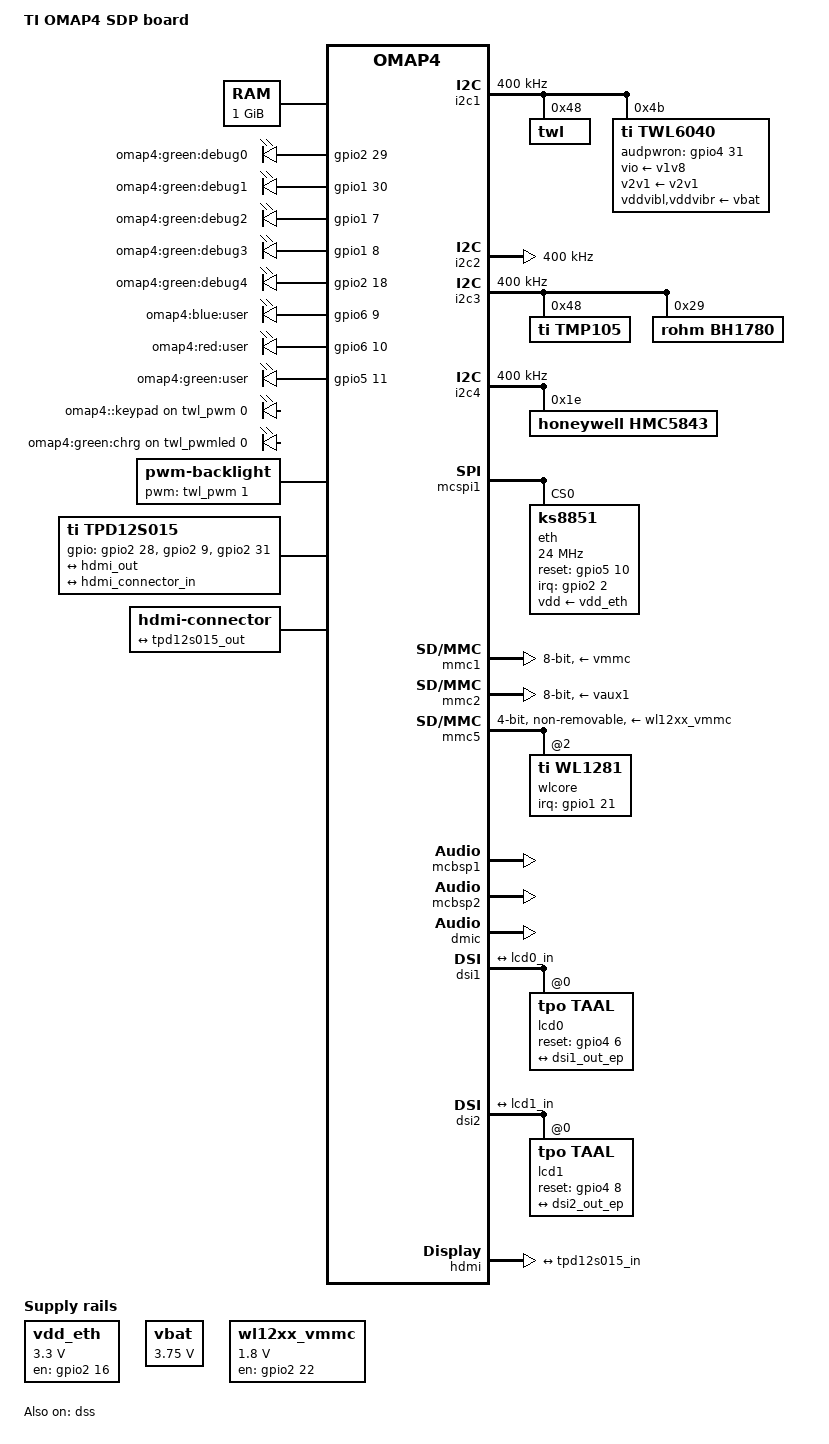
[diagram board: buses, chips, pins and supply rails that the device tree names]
// SPDX-License-Identifier: GPL-2.0-only
/*
 * Copyright (C) 2011 Texas Instruments Incorporated - https://www.ti.com/
 */
/dts-v1/;

#include "omap443x.dtsi"
#include "elpida_ecb240abacn.dtsi"
#include "omap4-mcpdm.dtsi"

/ {
	model = "TI OMAP4 SDP board";
	compatible = "ti,omap4-sdp", "ti,omap4430", "ti,omap4";

	memory@80000000 {
		device_type = "memory";
		reg = <0x80000000 0x40000000>; /* 1 GB */
	};

	aliases {
		display0 = &lcd0;
		display1 = &lcd1;
		display2 = &hdmi0;
	};

	vdd_eth: fixedregulator-vdd-eth {
		pinctrl-names = "default";
		pinctrl-0 = <&enet_enable_gpio>;

		compatible = "regulator-fixed";
		regulator-name = "VDD_ETH";
		regulator-min-microvolt = <3300000>;
		regulator-max-microvolt = <3300000>;
		gpio = <&gpio2 16 GPIO_ACTIVE_HIGH>;  /* gpio line 48 */
		enable-active-high;
		regulator-boot-on;
		startup-delay-us = <25000>;
	};

	vbat: fixedregulator-vbat {
		compatible = "regulator-fixed";
		regulator-name = "VBAT";
		regulator-min-microvolt = <3750000>;
		regulator-max-microvolt = <3750000>;
		regulator-boot-on;
	};

	led-controller-1 {
		compatible = "gpio-leds";

		led-1 {
			label = "omap4:green:debug0";
			gpios = <&gpio2 29 GPIO_ACTIVE_HIGH>; /* 61 */
		};

		led-2 {
			label = "omap4:green:debug1";
			gpios = <&gpio1 30 GPIO_ACTIVE_HIGH>; /* 30 */
		};

		led-3 {
			label = "omap4:green:debug2";
			gpios = <&gpio1 7 GPIO_ACTIVE_HIGH>; /* 7 */
		};

		led-4 {
			label = "omap4:green:debug3";
			gpios = <&gpio1 8 GPIO_ACTIVE_HIGH>; /* 8 */
		};

		led-5 {
			label = "omap4:green:debug4";
			gpios = <&gpio2 18 GPIO_ACTIVE_HIGH>; /* 50 */
		};

		led-6 {
			label = "omap4:blue:user";
			gpios = <&gpio6 9 GPIO_ACTIVE_HIGH>; /* 169 */
		};

		led-7 {
			label = "omap4:red:user";
			gpios = <&gpio6 10 GPIO_ACTIVE_HIGH>; /* 170 */
		};

		led-8 {
			label = "omap4:green:user";
			gpios = <&gpio5 11 GPIO_ACTIVE_HIGH>; /* 139 */
		};
	};

	led-controller-2 {
		compatible = "pwm-leds";

		led-9 {
			label = "omap4::keypad";
			pwms = <&twl_pwm 0 7812500>;
			max-brightness = <127>;
		};

		led-10 {
			label = "omap4:green:chrg";
			pwms = <&twl_pwmled 0 7812500>;
			max-brightness = <255>;
		};
	};

	backlight {
		compatible = "pwm-backlight";
		pwms = <&twl_pwm 1 7812500>;
		brightness-levels = <
				0 10 20 30 40
				50 60 70 80 90
				100 110 120 127
				>;
		default-brightness-level = <13>;
	};

	sound {
		compatible = "ti,abe-twl6040";
		ti,model = "SDP4430";

		ti,jack-detection = <1>;
		ti,mclk-freq = <38400000>;

		ti,mcpdm = <&mcpdm>;
		ti,dmic = <&dmic>;

		ti,twl6040 = <&twl6040>;

		/* Audio routing */
		ti,audio-routing =
			"Headset Stereophone", "HSOL",
			"Headset Stereophone", "HSOR",
			"Earphone Spk", "EP",
			"Ext Spk", "HFL",
			"Ext Spk", "HFR",
			"Line Out", "AUXL",
			"Line Out", "AUXR",
			"Vibrator", "VIBRAL",
			"Vibrator", "VIBRAR",
			"HSMIC", "Headset Mic",
			"Headset Mic", "Headset Mic Bias",
			"MAINMIC", "Main Handset Mic",
			"Main Handset Mic", "Main Mic Bias",
			"SUBMIC", "Sub Handset Mic",
			"Sub Handset Mic", "Main Mic Bias",
			"AFML", "Line In",
			"AFMR", "Line In",
			"DMic", "Digital Mic",
			"Digital Mic", "Digital Mic1 Bias";
	};

	/* regulator for wl12xx on sdio5 */
	wl12xx_vmmc: wl12xx_vmmc {
		pinctrl-names = "default";
		pinctrl-0 = <&wl12xx_gpio>;
		compatible = "regulator-fixed";
		regulator-name = "vwl1271";
		regulator-min-microvolt = <1800000>;
		regulator-max-microvolt = <1800000>;
		gpio = <&gpio2 22 GPIO_ACTIVE_HIGH>;
		startup-delay-us = <70000>;
		enable-active-high;
	};

	tpd12s015: encoder {
		compatible = "ti,tpd12s015";

		gpios = <&gpio2 28 GPIO_ACTIVE_HIGH>,	/* 60, CT CP HPD */
			<&gpio2 9 GPIO_ACTIVE_HIGH>,	/* 41, LS OE */
			<&gpio2 31 GPIO_ACTIVE_HIGH>;	/* 63, HPD */

		ports {
			#address-cells = <1>;
			#size-cells = <0>;

			port@0 {
				reg = <0>;

				tpd12s015_in: endpoint {
					remote-endpoint = <&hdmi_out>;
				};
			};

			port@1 {
				reg = <1>;

				tpd12s015_out: endpoint {
					remote-endpoint = <&hdmi_connector_in>;
				};
			};
		};
	};

	hdmi0: connector {
		compatible = "hdmi-connector";
		label = "hdmi";

		type = "c";

		port {
			hdmi_connector_in: endpoint {
				remote-endpoint = <&tpd12s015_out>;
			};
		};
	};
};

&omap4_pmx_core {
	pinctrl-names = "default";
	pinctrl-0 = <
			&dss_hdmi_pins
			&tpd12s015_pins
	>;

	uart2_pins: pinmux_uart2_pins {
		pinctrl-single,pins = <
			OMAP4_IOPAD(0x118, PIN_INPUT_PULLUP | MUX_MODE0)	/* uart2_cts.uart2_cts */
			OMAP4_IOPAD(0x11a, PIN_OUTPUT | MUX_MODE0)		/* uart2_rts.uart2_rts */
			OMAP4_IOPAD(0x11c, PIN_INPUT_PULLUP | MUX_MODE0)	/* uart2_rx.uart2_rx */
			OMAP4_IOPAD(0x11e, PIN_OUTPUT | MUX_MODE0)		/* uart2_tx.uart2_tx */
		>;
	};

	uart3_pins: pinmux_uart3_pins {
		pinctrl-single,pins = <
			OMAP4_IOPAD(0x140, PIN_INPUT_PULLUP | MUX_MODE0)	/* uart3_cts_rctx.uart3_cts_rctx */
			OMAP4_IOPAD(0x142, PIN_OUTPUT | MUX_MODE0)		/* uart3_rts_sd.uart3_rts_sd */
			OMAP4_IOPAD(0x144, PIN_INPUT | MUX_MODE0)		/* uart3_rx_irrx.uart3_rx_irrx */
			OMAP4_IOPAD(0x146, PIN_OUTPUT | MUX_MODE0)		/* uart3_tx_irtx.uart3_tx_irtx */
		>;
	};

	uart4_pins: pinmux_uart4_pins {
		pinctrl-single,pins = <
			OMAP4_IOPAD(0x15c, PIN_INPUT | MUX_MODE0)		/* uart4_rx.uart4_rx */
			OMAP4_IOPAD(0x15e, PIN_OUTPUT | MUX_MODE0)		/* uart4_tx.uart4_tx */
		>;
	};

	twl6040_pins: pinmux_twl6040_pins {
		pinctrl-single,pins = <
			OMAP4_IOPAD(0x120, PIN_OUTPUT | MUX_MODE3)		/* hdq_sio.gpio_127 */
			OMAP4_IOPAD(0x1a0, PIN_INPUT | MUX_MODE0)		/* sys_nirq2.sys_nirq2 */
		>;
	};

	dmic_pins: pinmux_dmic_pins {
		pinctrl-single,pins = <
			OMAP4_IOPAD(0x110, PIN_OUTPUT | MUX_MODE0)		/* abe_dmic_clk1.abe_dmic_clk1 */
			OMAP4_IOPAD(0x112, PIN_INPUT | MUX_MODE0)		/* abe_dmic_din1.abe_dmic_din1 */
			OMAP4_IOPAD(0x114, PIN_INPUT | MUX_MODE0)		/* abe_dmic_din2.abe_dmic_din2 */
			OMAP4_IOPAD(0x116, PIN_INPUT | MUX_MODE0)		/* abe_dmic_din3.abe_dmic_din3 */
		>;
	};

	mcbsp1_pins: pinmux_mcbsp1_pins {
		pinctrl-single,pins = <
			OMAP4_IOPAD(0x0fe, PIN_INPUT | MUX_MODE0)		/* abe_mcbsp1_clkx.abe_mcbsp1_clkx */
			OMAP4_IOPAD(0x100, PIN_INPUT_PULLDOWN | MUX_MODE0)	/* abe_mcbsp1_dr.abe_mcbsp1_dr */
			OMAP4_IOPAD(0x102, PIN_OUTPUT_PULLDOWN | MUX_MODE0)	/* abe_mcbsp1_dx.abe_mcbsp1_dx */
			OMAP4_IOPAD(0x104, PIN_INPUT | MUX_MODE0)		/* abe_mcbsp1_fsx.abe_mcbsp1_fsx */
		>;
	};

	mcbsp2_pins: pinmux_mcbsp2_pins {
		pinctrl-single,pins = <
			OMAP4_IOPAD(0x0f6, PIN_INPUT | MUX_MODE0)		/* abe_mcbsp2_clkx.abe_mcbsp2_clkx */
			OMAP4_IOPAD(0x0f8, PIN_INPUT_PULLDOWN | MUX_MODE0)	/* abe_mcbsp2_dr.abe_mcbsp2_dr */
			OMAP4_IOPAD(0x0fa, PIN_OUTPUT_PULLDOWN | MUX_MODE0)	/* abe_mcbsp2_dx.abe_mcbsp2_dx */
			OMAP4_IOPAD(0x0fc, PIN_INPUT | MUX_MODE0)		/* abe_mcbsp2_fsx.abe_mcbsp2_fsx */
		>;
	};

	mcspi1_pins: pinmux_mcspi1_pins {
		pinctrl-single,pins = <
			OMAP4_IOPAD(0x132, PIN_INPUT | MUX_MODE0)		/*  mcspi1_clk.mcspi1_clk */
			OMAP4_IOPAD(0x134, PIN_INPUT | MUX_MODE0)		/*  mcspi1_somi.mcspi1_somi */
			OMAP4_IOPAD(0x136, PIN_INPUT | MUX_MODE0)		/*  mcspi1_simo.mcspi1_simo */
			OMAP4_IOPAD(0x138, PIN_INPUT | MUX_MODE0)		/*  mcspi1_cs0.mcspi1_cs0 */
		>;
	};

	dss_hdmi_pins: pinmux_dss_hdmi_pins {
		pinctrl-single,pins = <
			OMAP4_IOPAD(0x09a, PIN_INPUT | MUX_MODE0)		/* hdmi_cec.hdmi_cec */
			OMAP4_IOPAD(0x09c, PIN_INPUT_PULLUP | MUX_MODE0)	/* hdmi_scl.hdmi_scl */
			OMAP4_IOPAD(0x09e, PIN_INPUT_PULLUP | MUX_MODE0)	/* hdmi_sda.hdmi_sda */
		>;
	};

	tpd12s015_pins: pinmux_tpd12s015_pins {
		pinctrl-single,pins = <
			OMAP4_IOPAD(0x062, PIN_OUTPUT | MUX_MODE3)		/* gpmc_a17.gpio_41 */
			OMAP4_IOPAD(0x088, PIN_OUTPUT | MUX_MODE3)		/* gpmc_nbe1.gpio_60 */
			OMAP4_IOPAD(0x098, PIN_INPUT_PULLDOWN | MUX_MODE3)	/* hdmi_hpd.gpio_63 */
		>;
	};

	i2c1_pins: pinmux_i2c1_pins {
		pinctrl-single,pins = <
			OMAP4_IOPAD(0x122, PIN_INPUT_PULLUP | MUX_MODE0)	/* i2c1_scl */
			OMAP4_IOPAD(0x124, PIN_INPUT_PULLUP | MUX_MODE0)	/* i2c1_sda */
		>;
	};

	i2c2_pins: pinmux_i2c2_pins {
		pinctrl-single,pins = <
			OMAP4_IOPAD(0x126, PIN_INPUT_PULLUP | MUX_MODE0)	/* i2c2_scl */
			OMAP4_IOPAD(0x128, PIN_INPUT_PULLUP | MUX_MODE0)	/* i2c2_sda */
		>;
	};

	i2c3_pins: pinmux_i2c3_pins {
		pinctrl-single,pins = <
			OMAP4_IOPAD(0x12a, PIN_INPUT_PULLUP | MUX_MODE0)	/* i2c3_scl */
			OMAP4_IOPAD(0x12c, PIN_INPUT_PULLUP | MUX_MODE0)	/* i2c3_sda */
		>;
	};

	i2c4_pins: pinmux_i2c4_pins {
		pinctrl-single,pins = <
			OMAP4_IOPAD(0x12e, PIN_INPUT_PULLUP | MUX_MODE0)	/* i2c4_scl */
			OMAP4_IOPAD(0x130, PIN_INPUT_PULLUP | MUX_MODE0)	/* i2c4_sda */
		>;
	};

	/* wl12xx GPIO output for WLAN_EN */
	wl12xx_gpio: pinmux_wl12xx_gpio {
		pinctrl-single,pins = <
			OMAP4_IOPAD(0x07c, PIN_OUTPUT | MUX_MODE3)		/* gpmc_nwp.gpio_54 */
		>;
	};

	/* wl12xx GPIO inputs and SDIO pins */
	wl12xx_pins: pinmux_wl12xx_pins {
		pinctrl-single,pins = <
			OMAP4_IOPAD(0x07a, PIN_INPUT | MUX_MODE3)		/* gpmc_ncs3.gpio_53 */
			OMAP4_IOPAD(0x148, PIN_INPUT_PULLUP | MUX_MODE0)	/* sdmmc5_clk.sdmmc5_clk */
			OMAP4_IOPAD(0x14a, PIN_INPUT_PULLUP | MUX_MODE0)	/* sdmmc5_cmd.sdmmc5_cmd */
			OMAP4_IOPAD(0x14c, PIN_INPUT_PULLUP | MUX_MODE0)	/* sdmmc5_dat0.sdmmc5_dat0 */
			OMAP4_IOPAD(0x14e, PIN_INPUT_PULLUP | MUX_MODE0)	/* sdmmc5_dat1.sdmmc5_dat1 */
			OMAP4_IOPAD(0x150, PIN_INPUT_PULLUP | MUX_MODE0)	/* sdmmc5_dat2.sdmmc5_dat2 */
			OMAP4_IOPAD(0x152, PIN_INPUT_PULLUP | MUX_MODE0)	/* sdmmc5_dat3.sdmmc5_dat3 */
		>;
	};

	/* gpio_48 for ENET_ENABLE */
	enet_enable_gpio: pinmux_enet_enable_gpio {
		pinctrl-single,pins = <
			OMAP4_IOPAD(0x070, PIN_OUTPUT_PULLDOWN | MUX_MODE3)	/* gpmc_a24.gpio_48 */
		>;
	};

	ks8851_pins: pinmux_ks8851_pins {
		pinctrl-single,pins = <
			/* ENET_INT */
			OMAP4_IOPAD(0x054, PIN_INPUT_PULLUP | MUX_MODE3)	/* gpmc_ad10.gpio_34 */
			/*
			 * Misterious pin which makes the ethernet working
			 * The legacy board file requested this pin on boot
			 * (ETH_KS8851_QUART) and set it to high, similarly to
			 * the ENET_ENABLE pin.
			 * We could use gpio-hog to keep it high, but let's use
			 * it as a reset GPIO for ks8851.
			 */
			OMAP4_IOPAD(0x13a, PIN_OUTPUT_PULLUP | MUX_MODE3)	/* mcspi1_cs1.gpio_138 */
		>;
	};
};

&i2c1 {
	pinctrl-names = "default";
	pinctrl-0 = <&i2c1_pins>;

	clock-frequency = <400000>;

	twl: twl@48 {
		reg = <0x48>;
		/* SPI = 0, IRQ# = 7, 4 = active high level-sensitive */
		interrupts = <GIC_SPI 7 IRQ_TYPE_LEVEL_HIGH>; /* IRQ_SYS_1N cascaded to gic */
	};

	twl6040: twl@4b {
		compatible = "ti,twl6040";
		#clock-cells = <0>;
		reg = <0x4b>;

		pinctrl-names = "default";
		pinctrl-0 = <&twl6040_pins>;

		/* SPI = 0, IRQ# = 119, 4 = active high level-sensitive */
		interrupts = <GIC_SPI 119 IRQ_TYPE_LEVEL_HIGH>; /* IRQ_SYS_2N cascaded to gic */
		ti,audpwron-gpio = <&gpio4 31 GPIO_ACTIVE_HIGH>;  /* gpio line 127 */

		vio-supply = <&v1v8>;
		v2v1-supply = <&v2v1>;
		enable-active-high;

		/* regulators for vibra motor */
		vddvibl-supply = <&vbat>;
		vddvibr-supply = <&vbat>;

		vibra {
			/* Vibra driver, motor resistance parameters */
			ti,vibldrv-res = <8>;
			ti,vibrdrv-res = <3>;
			ti,viblmotor-res = <10>;
			ti,vibrmotor-res = <10>;
		};
	};
};

#include "twl6030.dtsi"
#include "twl6030_omap4.dtsi"

&i2c2 {
	pinctrl-names = "default";
	pinctrl-0 = <&i2c2_pins>;

	clock-frequency = <400000>;
};

&i2c3 {
	pinctrl-names = "default";
	pinctrl-0 = <&i2c3_pins>;

	clock-frequency = <400000>;

	/*
	 * Temperature Sensor
	 * https://www.ti.com/lit/ds/symlink/tmp105.pdf
	 */
	tmp105@48 {
		compatible = "ti,tmp105";
		reg = <0x48>;
	};

	/*
	 * Ambient Light Sensor
	 * http://www.rohm.com/products/databook/sensor/pdf/bh1780gli-e.pdf
	 */
	bh1780@29 {
		compatible = "rohm,bh1780";
		reg = <0x29>;
	};
};

&i2c4 {
	pinctrl-names = "default";
	pinctrl-0 = <&i2c4_pins>;

	clock-frequency = <400000>;

	/*
	 * 3-Axis Digital Compass
	 * https://www.sparkfun.com/datasheets/Sensors/Magneto/HMC5843.pdf
	 */
	hmc5843@1e {
		compatible = "honeywell,hmc5843";
		reg = <0x1e>;
	};
};

&mcspi1 {
	pinctrl-names = "default";
	pinctrl-0 = <&mcspi1_pins>;

	eth@0 {
		pinctrl-names = "default";
		pinctrl-0 = <&ks8851_pins>;

		compatible = "ks8851";
		spi-max-frequency = <24000000>;
		reg = <0>;
		interrupt-parent = <&gpio2>;
		interrupts = <2 IRQ_TYPE_LEVEL_LOW>; /* gpio line 34 */
		vdd-supply = <&vdd_eth>;
		reset-gpios = <&gpio5 10 GPIO_ACTIVE_HIGH>;
	};
};

&mmc1 {
	vmmc-supply = <&vmmc>;
	bus-width = <8>;
};

&mmc2 {
	vmmc-supply = <&vaux1>;
	bus-width = <8>;
	ti,non-removable;
};

&mmc3 {
	status = "disabled";
};

&mmc4 {
	status = "disabled";
};

&mmc5 {
	pinctrl-names = "default";
	pinctrl-0 = <&wl12xx_pins>;
	vmmc-supply = <&wl12xx_vmmc>;
	non-removable;
	bus-width = <4>;
	cap-power-off-card;

	#address-cells = <1>;
	#size-cells = <0>;
	wlcore: wlcore@2 {
		compatible = "ti,wl1281";
		reg = <2>;
		interrupt-parent = <&gpio1>;
		interrupts = <21 IRQ_TYPE_LEVEL_HIGH>; /* gpio 53 */
		ref-clock-frequency = <26000000>;
		tcxo-clock-frequency = <26000000>;
	};
};

&emif1 {
	cs1-used;
	device-handle = <&elpida_ECB240ABACN>;
};

&emif2 {
	cs1-used;
	device-handle = <&elpida_ECB240ABACN>;
};

&keypad {
	keypad,num-rows = <8>;
	keypad,num-columns = <8>;
	linux,keymap = <0x00000012	/* KEY_E */
			0x00010013	/* KEY_R */
			0x00020014	/* KEY_T */
			0x00030066	/* KEY_HOME */
			0x0004003f	/* KEY_F5 */
			0x000500f0	/* KEY_UNKNOWN */
			0x00060017	/* KEY_I */
			0x0007002a	/* KEY_LEFTSHIFT */
			0x01000020	/* KEY_D*/
			0x01010021	/* KEY_F */
			0x01020022	/* KEY_G */
			0x010300e7	/* KEY_SEND */
			0x01040040	/* KEY_F6 */
			0x010500f0	/* KEY_UNKNOWN */
			0x01060025	/* KEY_K */
			0x0107001c	/* KEY_ENTER */
			0x0200002d	/* KEY_X */
			0x0201002e	/* KEY_C */
			0x0202002f	/* KEY_V */
			0x0203006b	/* KEY_END */
			0x02040041	/* KEY_F7 */
			0x020500f0	/* KEY_UNKNOWN */
			0x02060034	/* KEY_DOT */
			0x0207003a	/* KEY_CAPSLOCK */
			0x0300002c	/* KEY_Z */
			0x0301004e	/* KEY_KPLUS */
			0x03020030	/* KEY_B */
			0x0303003b	/* KEY_F1 */
			0x03040042	/* KEY_F8 */
			0x030500f0	/* KEY_UNKNOWN */
			0x03060018	/* KEY_O */
			0x03070039	/* KEY_SPACE */
			0x04000011	/* KEY_W */
			0x04010015	/* KEY_Y */
			0x04020016	/* KEY_U */
			0x0403003c	/* KEY_F2 */
			0x04040073	/* KEY_VOLUMEUP */
			0x040500f0	/* KEY_UNKNOWN */
			0x04060026	/* KEY_L */
			0x04070069	/* KEY_LEFT */
			0x0500001f	/* KEY_S */
			0x05010023	/* KEY_H */
			0x05020024	/* KEY_J */
			0x0503003d	/* KEY_F3 */
			0x05040043	/* KEY_F9 */
			0x05050072	/* KEY_VOLUMEDOWN */
			0x05060032	/* KEY_M */
			0x0507006a	/* KEY_RIGHT */
			0x06000010	/* KEY_Q */
			0x0601001e	/* KEY_A */
			0x06020031	/* KEY_N */
			0x0603009e	/* KEY_BACK */
			0x0604000e	/* KEY_BACKSPACE */
			0x060500f0	/* KEY_UNKNOWN */
			0x06060019	/* KEY_P */
			0x06070067	/* KEY_UP */
			0x07000094	/* KEY_PROG1 */
			0x07010095	/* KEY_PROG2 */
			0x070200ca	/* KEY_PROG3 */
			0x070300cb	/* KEY_PROG4 */
			0x0704003e	/* KEY_F4 */
			0x070500f0	/* KEY_UNKNOWN */
			0x07060160	/* KEY_OK */
			0x0707006c>;	/* KEY_DOWN */
	linux,input-no-autorepeat;
};

&uart2 {
	interrupts-extended = <&wakeupgen GIC_SPI 73 IRQ_TYPE_LEVEL_HIGH
			       &omap4_pmx_core OMAP4_UART2_RX>;
	pinctrl-names = "default";
	pinctrl-0 = <&uart2_pins>;
};

&uart3 {
	interrupts-extended = <&wakeupgen GIC_SPI 74 IRQ_TYPE_LEVEL_HIGH
			       &omap4_pmx_core OMAP4_UART3_RX>;
	pinctrl-names = "default";
	pinctrl-0 = <&uart3_pins>;
};

&uart4 {
	interrupts-extended = <&wakeupgen GIC_SPI 70 IRQ_TYPE_LEVEL_HIGH
			       &omap4_pmx_core OMAP4_UART4_RX>;
	pinctrl-names = "default";
	pinctrl-0 = <&uart4_pins>;
};

&mcbsp1 {
	pinctrl-names = "default";
	pinctrl-0 = <&mcbsp1_pins>;
	status = "okay";
};

&mcbsp2 {
	pinctrl-names = "default";
	pinctrl-0 = <&mcbsp2_pins>;
	status = "okay";
};

&dmic {
	pinctrl-names = "default";
	pinctrl-0 = <&dmic_pins>;
	status = "okay";
};

&twl_usb_comparator {
	usb-supply = <&vusb>;
};

&usb_otg_hs {
	interface-type = <1>;
	mode = <3>;
	power = <50>;
};

&dss {
	status = "okay";
};

&dsi1 {
	status = "okay";
	vdd-supply = <&vcxio>;

	port {
		dsi1_out_ep: endpoint {
			remote-endpoint = <&lcd0_in>;
			lanes = <0 1 2 3 4 5>;
		};
	};

	lcd0: panel@0 {
		compatible = "tpo,taal", "panel-dsi-cm";
		reg = <0>;
		label = "lcd0";

		reset-gpios = <&gpio4 6 GPIO_ACTIVE_HIGH>;	/* 102 */

		port {
			lcd0_in: endpoint {
				remote-endpoint = <&dsi1_out_ep>;
			};
		};
	};
};

&dsi2 {
	status = "okay";
	vdd-supply = <&vcxio>;

	port {
		dsi2_out_ep: endpoint {
			remote-endpoint = <&lcd1_in>;
			lanes = <0 1 2 3 4 5>;
		};
	};

	lcd1: panel@0 {
		compatible = "tpo,taal", "panel-dsi-cm";
		reg = <0>;
		label = "lcd1";

		reset-gpios = <&gpio4 8 GPIO_ACTIVE_HIGH>;	/* 104 */

		port {
			lcd1_in: endpoint {
				remote-endpoint = <&dsi2_out_ep>;
			};
		};
	};
};

&hdmi {
	status = "okay";
	vdda-supply = <&vdac>;

	port {
		hdmi_out: endpoint {
			remote-endpoint = <&tpd12s015_in>;
		};
	};
};
